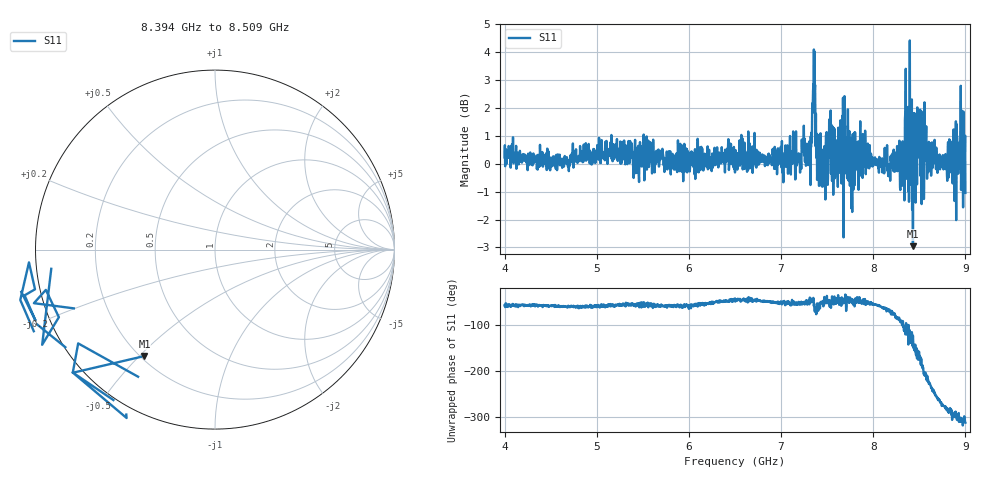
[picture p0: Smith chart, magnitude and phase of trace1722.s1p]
! Created with skrf 1.8.0 (http://scikit-rf.org).
# Hz S RI R 50.0
!freq ReS11 ImS11
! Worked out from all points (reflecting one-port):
!   1601 points, 4 GHz to 9 GHz, reference 50 ohm
!   lowest |S11| = -3.0 dB at 8.431 GHz (marker M1), VSWR 5.94, Z = 10.8 - j25.9 ohm
!   phase of S11 starts at -57 deg and turns -256 deg over the sweep
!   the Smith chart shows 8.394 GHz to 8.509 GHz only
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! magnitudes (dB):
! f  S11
! 4 GHz  0.2
! 4.625 GHz  -0.1
! 5.25 GHz  0.3
! 5.875 GHz  0.2
! 6.5 GHz  -0.3
! 7.125 GHz  0.1
! 7.294 GHz  0.0
! 7.353 GHz  2.4
! 7.369 GHz  2.8
! 7.4 GHz  -0.2
! 7.422 GHz  -0.3
! 7.512 GHz  0.8
! 7.609 GHz  0.2
! 7.669 GHz  1.1
! 7.75 GHz  0.2
! 7.769 GHz  -0.7
! 7.834 GHz  0.4
! 8.262 GHz  -0.3
! 8.316 GHz  -0.1
! 8.334 GHz  0.2
! 8.375 GHz  -0.4
! 8.406 GHz  0.4
! 8.431 GHz  -3.0
! 8.553 GHz  -0.4
! 8.609 GHz  0.7
! 8.781 GHz  -0.1
! 8.972 GHz  0.6
! 9 GHz  -1.0
